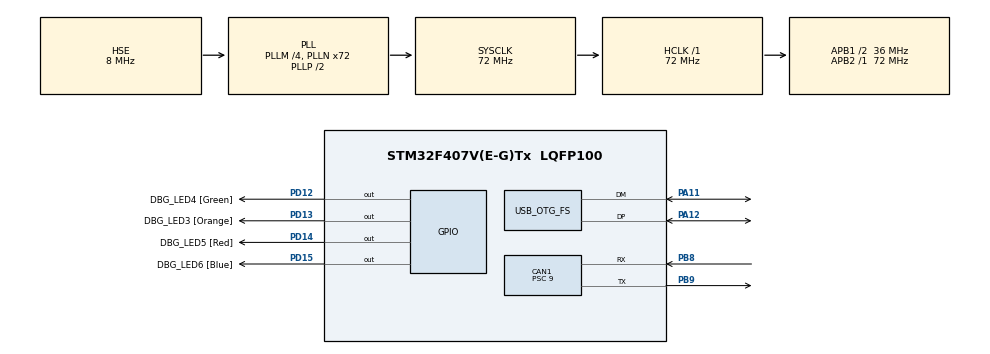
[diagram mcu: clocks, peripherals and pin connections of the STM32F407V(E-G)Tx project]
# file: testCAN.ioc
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CAN1.ABOM=ENABLE
CAN1.BS1=CAN_BS1_13TQ
CAN1.BS2=CAN_BS2_2TQ
CAN1.CalculateTimeQuantum=250.0
CAN1.Mode=CAN_MODE_NORMAL
CAN1.NART=DISABLE
CAN1.Prescaler=9
Mcu.Family=STM32F4
Mcu.Name=STM32F407V(E-G)Tx
Mcu.Package=LQFP100
NVIC.CAN1_RX0_IRQn=true\:0\:0\:false\:false\:true\:true\:true
NVIC.CAN1_SCE_IRQn=true\:0\:0\:false\:false\:true\:true\:true
NVIC.OTG_FS_IRQn=true\:0\:0\:false\:false\:true\:false\:true
NVIC.PriorityGroup=NVIC_PRIORITYGROUP_0
PA11.Mode=Device_Only
PA11.Signal=USB_OTG_FS_DM
PA12.Mode=Device_Only
PA12.Signal=USB_OTG_FS_DP
PB8.Mode=Master
PB8.Signal=CAN1_RX
PB9.Mode=Master
PB9.Signal=CAN1_TX
PC14-OSC32_IN.Mode=LSE-External-Oscillator
PC14-OSC32_IN.Signal=RCC_OSC32_IN
PC15-OSC32_OUT.Mode=LSE-External-Oscillator
PC15-OSC32_OUT.Signal=RCC_OSC32_OUT
PD12.GPIO_Label=DBG_LED4 [Green]
PD12.GPIO_PuPd=GPIO_NOPULL
PD12.GPIO_Speed=GPIO_SPEED_FREQ_LOW
PD12.Signal=GPIO_Output
PD13.GPIO_Label=DBG_LED3 [Orange]
PD13.GPIO_PuPd=GPIO_NOPULL
PD13.GPIO_Speed=GPIO_SPEED_FREQ_LOW
PD13.Signal=GPIO_Output
PD14.GPIO_Label=DBG_LED5 [Red]
PD14.GPIO_PuPd=GPIO_NOPULL
PD14.GPIO_Speed=GPIO_SPEED_FREQ_LOW
PD14.Signal=GPIO_Output
PD15.GPIO_Label=DBG_LED6 [Blue]
PD15.GPIO_PuPd=GPIO_NOPULL
PD15.GPIO_Speed=GPIO_SPEED_FREQ_LOW
PD15.Signal=GPIO_Output
PH0-OSC_IN.Mode=HSE-External-Oscillator
PH0-OSC_IN.Signal=RCC_OSC_IN
PH1-OSC_OUT.Mode=HSE-External-Oscillator
PH1-OSC_OUT.Signal=RCC_OSC_OUT
ProjectManager.HeapSize=0x800
ProjectManager.StackSize=0x1600
ProjectManager.TargetToolchain=MDK-ARM V5.27
RCC.48MHZClocksFreq_Value=48000000
RCC.AHBFreq_Value=72000000
RCC.APB1CLKDivider=RCC_HCLK_DIV2
RCC.APB1Freq_Value=36000000
RCC.APB1TimFreq_Value=72000000
RCC.APB2Freq_Value=72000000
RCC.APB2TimFreq_Value=72000000
RCC.CortexFreq_Value=72000000
RCC.HCLKFreq_Value=72000000
RCC.HSE_VALUE=8000000
RCC.HSI_VALUE=16000000
RCC.PLLM=4
RCC.PLLN=72
RCC.PLLQ=3
RCC.SYSCLKFreq_VALUE=72000000
RCC.SYSCLKSource=RCC_SYSCLKSOURCE_PLLCLK
RCC.VCOOutputFreq_Value=144000000
USB_DEVICE.CLASS_NAME_FS=CDC
USB_DEVICE.VirtualMode-CDC_FS=Cdc
USB_DEVICE.VirtualModeFS=Cdc_FS
USB_OTG_FS.VirtualMode=Device_Only
VP_USB_DEVICE_VS_USB_DEVICE_CDC_FS.Mode=CDC_FS
board=STM32F407G-DISC1

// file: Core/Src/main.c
/* USER CODE BEGIN Header */
/**
  ******************************************************************************
  * @file           : main.c
  * @brief          : Main program body
  ******************************************************************************
  * @attention
  *
  * <h2><center>&copy; Copyright (c) 2020 STMicroelectronics.
  * All rights reserved.</center></h2>
  *
  * This software component is licensed by ST under Ultimate Liberty license
  * SLA0044, the "License"; You may not use this file except in compliance with
  * the License. You may obtain a copy of the License at:
  *                             www.st.com/SLA0044
  *
  ******************************************************************************
  */
/* USER CODE END Header */
#include "main.h"
#include "can.h"
#include "usb_device.h"
#include "gpio.h"

/* USER CODE BEGIN Includes */
#include "usbd_cdc_if.h"
/* USER CODE END Includes */

void SystemClock_Config(void);

/* USER CODE BEGIN 0 */
CAN_FilterTypeDef sFilterConfig;
CAN_TxHeaderTypeDef TxHeader;
CAN_RxHeaderTypeDef RxHeader;
uint8_t TxData[8];
uint8_t RxData[8];
uint32_t TxMailbox;
int ledSendCounter, ledRcvCounter, ledUSBCounter;
/* USER CODE END 0 */

int main(void)
{

  /* MCU Configuration--------------------------------------------------------*/

  /* Reset of all peripherals, Initializes the Flash interface and the Systick. */
  HAL_Init();

  /* Configure the system clock */
  SystemClock_Config();

  /* USER CODE BEGIN SysInit */
	HAL_Delay(50);
  /* USER CODE END SysInit */

  /* Initialize all configured peripherals */
  MX_GPIO_Init();
  MX_USB_DEVICE_Init();
  /* USER CODE BEGIN 2 */
  //скорость передачи по CAN-шине. Либо 250 кбит/с, либо 115 кбит/с
  #define CAN_SPEED 250
  if (CAN_SPEED == 115) MX_CAN1_Init_115(); else	MX_CAN1_Init();

	CAN_InitFilter(&hcan1, 0, 0);

  /* USER CODE END 2 */

  /* Infinite loop */
  while (1)
  {

    /* USER CODE BEGIN 3 */
    debugPinCounter(3, &ledSendCounter);
    debugPinCounter(4, &ledRcvCounter);
    debugPinCounter(5, &ledUSBCounter);

		HAL_Delay(1);
  }
  /* USER CODE END 3 */
}

void SystemClock_Config(void)
{
  RCC_OscInitTypeDef RCC_OscInitStruct = {0};
  RCC_ClkInitTypeDef RCC_ClkInitStruct = {0};

  /** Configure the main internal regulator output voltage
  */
  __HAL_RCC_PWR_CLK_ENABLE();
  __HAL_PWR_VOLTAGESCALING_CONFIG(PWR_REGULATOR_VOLTAGE_SCALE1);
  /** Initializes the RCC Oscillators according to the specified parameters
  * in the RCC_OscInitTypeDef structure.
  */
  RCC_OscInitStruct.OscillatorType = RCC_OSCILLATORTYPE_HSE;
  RCC_OscInitStruct.HSEState = RCC_HSE_ON;
  RCC_OscInitStruct.PLL.PLLState = RCC_PLL_ON;
  RCC_OscInitStruct.PLL.PLLSource = RCC_PLLSOURCE_HSE;
  RCC_OscInitStruct.PLL.PLLM = 4;
  RCC_OscInitStruct.PLL.PLLN = 72;
  RCC_OscInitStruct.PLL.PLLP = RCC_PLLP_DIV2;
  RCC_OscInitStruct.PLL.PLLQ = 3;
  if (HAL_RCC_OscConfig(&RCC_OscInitStruct) != HAL_OK)
  {
    Error_Handler();
  }
  /** Initializes the CPU, AHB and APB buses clocks
  */
  RCC_ClkInitStruct.ClockType = RCC_CLOCKTYPE_HCLK|RCC_CLOCKTYPE_SYSCLK
                              |RCC_CLOCKTYPE_PCLK1|RCC_CLOCKTYPE_PCLK2;
  RCC_ClkInitStruct.SYSCLKSource = RCC_SYSCLKSOURCE_PLLCLK;
  RCC_ClkInitStruct.AHBCLKDivider = RCC_SYSCLK_DIV1;
  RCC_ClkInitStruct.APB1CLKDivider = RCC_HCLK_DIV2;
  RCC_ClkInitStruct.APB2CLKDivider = RCC_HCLK_DIV1;

  if (HAL_RCC_ClockConfig(&RCC_ClkInitStruct, FLASH_LATENCY_2) != HAL_OK)
  {
    Error_Handler();
  }
}

/* USER CODE BEGIN 4 */

static uint8_t tx_USBbfr[11] = {0};
//на прерывание от первого CAN-приёмника отправляем по USB
void HAL_CAN_RxFifo0MsgPendingCallback(CAN_HandleTypeDef *p_hcan) {
	HAL_CAN_GetRxMessage(p_hcan, CAN_RX_FIFO0, &RxHeader, RxData);

  tx_USBbfr[0] = (RxHeader.StdId >> 8) & 0xFF;
  tx_USBbfr[1] = RxHeader.StdId & 0xFF;
  tx_USBbfr[2] = 8;

  for (int i = 0; i<8; i++)	tx_USBbfr[i+3] = RxData[i];

  ledRcvCounter=50;
  //отправка по USB
	CDC_Transmit_FS(tx_USBbfr, 11);
}

HAL_StatusTypeDef CANsendTest(CAN_HandleTypeDef *p_hcan, uint16_t addr, uint8_t * bfr, uint8_t size) {
	TxHeader.StdId = addr;
	TxHeader.RTR = CAN_RTR_DATA;
	TxHeader.IDE = CAN_ID_STD;
	TxHeader.DLC = size;
	TxHeader.TransmitGlobalTime = DISABLE;
	//for (int i=0; i<size; i++) TxData[i] = bfr[i];

	ledSendCounter=50;
	return HAL_CAN_AddTxMessage(p_hcan, &TxHeader, bfr, &TxMailbox);
}

//на прием от USB посылаем в CAN
static uint8_t bfrSend[8] = {0};
void CDC_RecieveCallBack(uint8_t *bfrUSB, uint32_t len)
{
  uint16_t addr = bfrUSB[0] * 256 + bfrUSB[1];

  int size = bfrUSB[2];
  if (size > 8) size = 8;
  memset(bfrSend, 0, 8);
  for (int i=0; i<size; i++) bfrSend[i] = bfrUSB[i+3];

  ledUSBCounter=50;

  CANsendTest(&hcan1, addr, bfrSend, size);
}

void debugPinPulse(int pinLedNo, int delayTime)
{
	GPIO_TypeDef *port = GPIOD;
	uint16_t pin;
	switch (pinLedNo) {
		case 4: pin = DBG_LED4_Pin; break;
		case 5: pin = DBG_LED5_Pin; break;
		case 6: pin = DBG_LED6_Pin; break;
		default: pin = DBG_LED3_Pin;
	}

	HAL_GPIO_WritePin(port, pin, GPIO_PIN_SET);
	HAL_Delay(delayTime);
	HAL_GPIO_WritePin(port, pin, GPIO_PIN_RESET);
}

void debugPinCounter(int pinLedNo, int *counter)
{
	GPIO_TypeDef *port = GPIOD;
	uint16_t pin;
  int cnt = *counter;
	switch (pinLedNo) {
		case 4: pin = DBG_LED4_Pin; break;
		case 5: pin = DBG_LED5_Pin; break;
		case 6: pin = DBG_LED6_Pin; break;
		default: pin = DBG_LED3_Pin;
	}

  if (cnt > 0) {
    HAL_GPIO_WritePin(port, pin, GPIO_PIN_SET);
    cnt--;
    if (cnt==0) HAL_GPIO_WritePin(port, pin, GPIO_PIN_RESET);
  }
	*counter = cnt;
}
/* USER CODE END 4 */

void Error_Handler(void)
{
  /* USER CODE BEGIN Error_Handler_Debug */
  /* User can add his own implementation to report the HAL error return state */
	while (1) {
		debugPinPulsePIN3(50);
		debugPinPulsePIN4(50);
		debugPinPulsePIN5(50);
		debugPinPulsePIN6(50);
	}
  /* USER CODE END Error_Handler_Debug */
}

/************************ (C) COPYRIGHT STMicroelectronics *****END OF FILE****/
